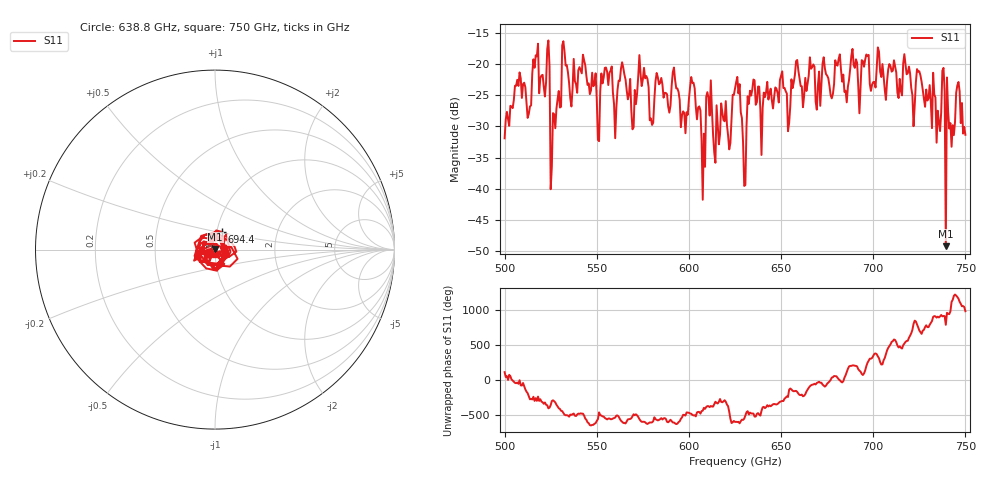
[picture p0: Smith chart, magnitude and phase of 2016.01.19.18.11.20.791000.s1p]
!Created with skrf (http://scikit-rf.org).
# GHz S RI R 50.0
!freq ReS11 ImS11
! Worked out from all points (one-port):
!   401 points, 500 GHz to 750 GHz, reference 50 ohm
!   lowest |S11| = -49.2 dB at 739.4 GHz (marker M1), VSWR 1.01, Z = 50.1 + j0.331 ohm
!   |S11| at or under -10 dB: start of sweep to end of sweep
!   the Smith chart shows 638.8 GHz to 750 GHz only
!   S11 on the Smith chart (normalised r, x): 638.8 GHz: 0.92, -0.03; 694.4 GHz: 1.06, +0.21; 750 GHz: 1.00, -0.05
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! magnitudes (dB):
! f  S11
! 500 GHz  -31.9
! 507.5 GHz  -23.5
! 513.1 GHz  -28.0
! 516.9 GHz  -18.6
! 523.1 GHz  -17.6
! 526.2 GHz  -27.9
! 531.2 GHz  -17.0
! 550.6 GHz  -32.2
! 562.5 GHz  -22.7
! 576.2 GHz  -22.3
! 580 GHz  -29.8
! 593.8 GHz  -23.9
! 596.9 GHz  -27.6
! 601.9 GHz  -23.0
! 607.5 GHz  -41.7
! 610.6 GHz  -25.4
! 621.9 GHz  -33.7
! 625 GHz  -24.0
! 630 GHz  -39.5
! 634.4 GHz  -24.1
! 638.8 GHz  -27.3
! 656.2 GHz  -23.9
! 687.5 GHz  -20.8
! 694.4 GHz  -19.5
! 718.8 GHz  -21.5
! 739.4 GHz  -49.2
! 746.2 GHz  -22.9
! 750 GHz  -31.3
